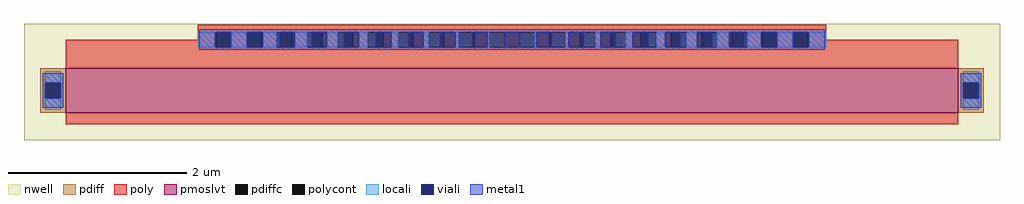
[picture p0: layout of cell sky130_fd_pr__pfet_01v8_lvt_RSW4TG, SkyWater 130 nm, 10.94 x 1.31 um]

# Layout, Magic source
magic
tech sky130A
magscale 1 2
<< nwell >>
rect -1094 -148 1094 114
<< pmoslvt >>
rect -1000 -86 1000 14
<< pdiff >>
rect -1058 -19 -1000 14
rect -1058 -53 -1046 -19
rect -1012 -53 -1000 -19
rect -1058 -86 -1000 -53
rect 1000 -19 1058 14
rect 1000 -53 1012 -19
rect 1046 -53 1058 -19
rect 1000 -86 1058 -53
<< pdiffc >>
rect -1046 -53 -1012 -19
rect 1012 -53 1046 -19
<< poly >>
rect -705 95 705 111
rect -705 78 -663 95
rect -1000 61 -663 78
rect -629 61 -595 95
rect -561 61 -527 95
rect -493 61 -459 95
rect -425 61 -391 95
rect -357 61 -323 95
rect -289 61 -255 95
rect -221 61 -187 95
rect -153 61 -119 95
rect -85 61 -51 95
rect -17 61 17 95
rect 51 61 85 95
rect 119 61 153 95
rect 187 61 221 95
rect 255 61 289 95
rect 323 61 357 95
rect 391 61 425 95
rect 459 61 493 95
rect 527 61 561 95
rect 595 61 629 95
rect 663 78 705 95
rect 663 61 1000 78
rect -1000 14 1000 61
rect -1000 -112 1000 -86
<< polycont >>
rect -663 61 -629 95
rect -595 61 -561 95
rect -527 61 -493 95
rect -459 61 -425 95
rect -391 61 -357 95
rect -323 61 -289 95
rect -255 61 -221 95
rect -187 61 -153 95
rect -119 61 -85 95
rect -51 61 -17 95
rect 17 61 51 95
rect 85 61 119 95
rect 153 61 187 95
rect 221 61 255 95
rect 289 61 323 95
rect 357 61 391 95
rect 425 61 459 95
rect 493 61 527 95
rect 561 61 595 95
rect 629 61 663 95
<< locali >>
rect -705 61 -665 95
rect -629 61 -595 95
rect -559 61 -527 95
rect -487 61 -459 95
rect -415 61 -391 95
rect -343 61 -323 95
rect -271 61 -255 95
rect -199 61 -187 95
rect -127 61 -119 95
rect -55 61 -51 95
rect 51 61 55 95
rect 119 61 127 95
rect 187 61 199 95
rect 255 61 271 95
rect 323 61 343 95
rect 391 61 415 95
rect 459 61 487 95
rect 527 61 559 95
rect 595 61 629 95
rect 665 61 705 95
rect -1046 -19 -1012 7
rect -1046 -79 -1012 -53
rect 1012 -19 1046 7
rect 1012 -79 1046 -53
<< viali >>
rect -665 61 -663 95
rect -663 61 -631 95
rect -593 61 -561 95
rect -561 61 -559 95
rect -521 61 -493 95
rect -493 61 -487 95
rect -449 61 -425 95
rect -425 61 -415 95
rect -377 61 -357 95
rect -357 61 -343 95
rect -305 61 -289 95
rect -289 61 -271 95
rect -233 61 -221 95
rect -221 61 -199 95
rect -161 61 -153 95
rect -153 61 -127 95
rect -89 61 -85 95
rect -85 61 -55 95
rect -17 61 17 95
rect 55 61 85 95
rect 85 61 89 95
rect 127 61 153 95
rect 153 61 161 95
rect 199 61 221 95
rect 221 61 233 95
rect 271 61 289 95
rect 289 61 305 95
rect 343 61 357 95
rect 357 61 377 95
rect 415 61 425 95
rect 425 61 449 95
rect 487 61 493 95
rect 493 61 521 95
rect 559 61 561 95
rect 561 61 593 95
rect 631 61 663 95
rect 663 61 665 95
rect -1046 -53 -1012 -19
rect 1012 -53 1046 -19
<< metal1 >>
rect -701 95 701 101
rect -701 61 -665 95
rect -631 61 -593 95
rect -559 61 -521 95
rect -487 61 -449 95
rect -415 61 -377 95
rect -343 61 -305 95
rect -271 61 -233 95
rect -199 61 -161 95
rect -127 61 -89 95
rect -55 61 -17 95
rect 17 61 55 95
rect 89 61 127 95
rect 161 61 199 95
rect 233 61 271 95
rect 305 61 343 95
rect 377 61 415 95
rect 449 61 487 95
rect 521 61 559 95
rect 593 61 631 95
rect 665 61 701 95
rect -701 55 701 61
rect -1052 -19 -1006 3
rect -1052 -53 -1046 -19
rect -1012 -53 -1006 -19
rect -1052 -75 -1006 -53
rect 1006 -19 1052 3
rect 1006 -53 1012 -19
rect 1046 -53 1052 -19
rect 1006 -75 1052 -53
<< end >>
